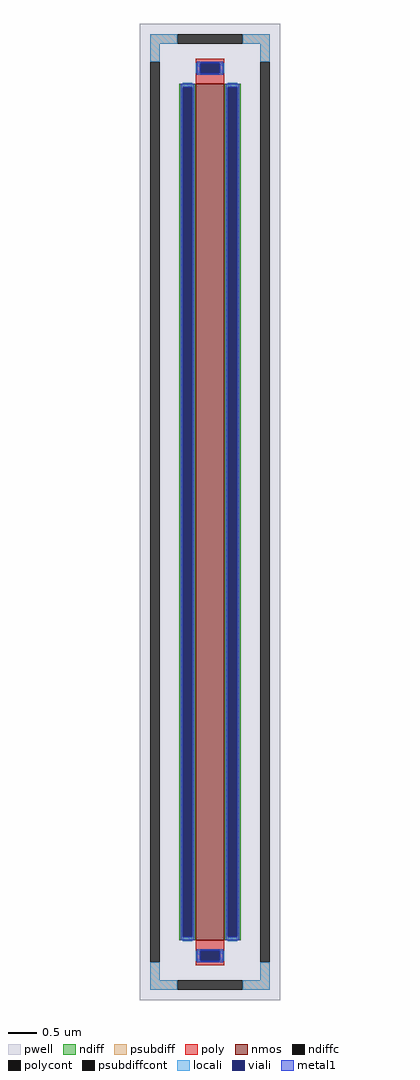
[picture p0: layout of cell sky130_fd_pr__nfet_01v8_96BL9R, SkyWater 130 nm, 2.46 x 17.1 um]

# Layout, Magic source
magic
tech sky130A
<< pwell >>
rect -123 -855 123 855
<< nmos >>
rect -25 -750 25 750
<< ndiff >>
rect -54 744 -25 750
rect -54 -744 -48 744
rect -31 -744 -25 744
rect -54 -750 -25 -744
rect 25 744 54 750
rect 25 -744 31 744
rect 48 -744 54 744
rect 25 -750 54 -744
<< ndiffc >>
rect -48 -744 -31 744
rect 31 -744 48 744
<< psubdiff >>
rect -105 820 -57 837
rect 57 820 105 837
rect -105 789 -88 820
rect 88 789 105 820
rect -105 -820 -88 -789
rect 88 -820 105 -789
rect -105 -837 -57 -820
rect 57 -837 105 -820
<< psubdiffcont >>
rect -57 820 57 837
rect -105 -789 -88 789
rect 88 -789 105 789
rect -57 -837 57 -820
<< poly >>
rect -25 786 25 794
rect -25 769 -17 786
rect 17 769 25 786
rect -25 750 25 769
rect -25 -769 25 -750
rect -25 -786 -17 -769
rect 17 -786 25 -769
rect -25 -794 25 -786
<< polycont >>
rect -17 769 17 786
rect -17 -786 17 -769
<< locali >>
rect -105 820 -57 837
rect 57 820 105 837
rect -105 789 -88 820
rect 88 789 105 820
rect -25 769 -17 786
rect 17 769 25 786
rect -48 744 -31 752
rect -48 -752 -31 -744
rect 31 744 48 752
rect 31 -752 48 -744
rect -25 -786 -17 -769
rect 17 -786 25 -769
rect -105 -820 -88 -789
rect 88 -820 105 -789
rect -105 -837 -57 -820
rect 57 -837 105 -820
<< viali >>
rect -17 769 17 786
rect -48 -744 -31 744
rect 31 -744 48 744
rect -17 -786 17 -769
<< metal1 >>
rect -23 786 23 789
rect -23 769 -17 786
rect 17 769 23 786
rect -23 766 23 769
rect -51 744 -28 750
rect -51 -744 -48 744
rect -31 -744 -28 744
rect -51 -750 -28 -744
rect 28 744 51 750
rect 28 -744 31 744
rect 48 -744 51 744
rect 28 -750 51 -744
rect -23 -769 23 -766
rect -23 -786 -17 -769
rect 17 -786 23 -769
rect -23 -789 23 -786
<< properties >>
string FIXED_BBOX -96 -828 96 828
string gencell sky130_fd_pr__nfet_01v8
string library sky130
string parameters w 15 l 0.5 m 1 nf 1 diffcov 100 polycov 100 guard 1 glc 1 grc 1 gtc 1 gbc 1 tbcov 100 rlcov 100 topc 1 botc 1 poverlap 0 doverlap 1 lmin 0.15 wmin 0.42 compatible {sky130_fd_pr__nfet_01v8 sky130_fd_pr__nfet_01v8_lvt  sky130_fd_bs_flash__special_sonosfet_star  sky130_fd_pr__nfet_g5v0d10v5 sky130_fd_pr__nfet_05v0_nvt  sky130_fd_pr__nfet_03v3_nvt} full_metal 1 viasrc 100 viadrn 100 viagate 100 viagb 0 viagr 0 viagl 0 viagt 0
<< end >>
